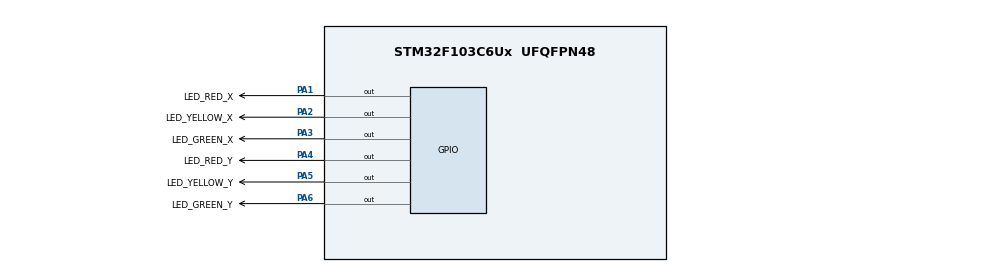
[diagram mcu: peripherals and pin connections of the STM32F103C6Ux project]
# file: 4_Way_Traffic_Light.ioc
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Mcu.Family=STM32F1
Mcu.Name=STM32F103C6Ux
Mcu.Package=UFQFPN48
NVIC.PriorityGroup=NVIC_PRIORITYGROUP_4
PA1.GPIO_Label=LED_RED_X
PA1.Signal=GPIO_Output
PA2.GPIO_Label=LED_YELLOW_X
PA2.Signal=GPIO_Output
PA3.GPIO_Label=LED_GREEN_X
PA3.Signal=GPIO_Output
PA4.GPIO_Label=LED_RED_Y
PA4.Signal=GPIO_Output
PA5.GPIO_Label=LED_YELLOW_Y
PA5.Signal=GPIO_Output
PA6.GPIO_Label=LED_GREEN_Y
PA6.Signal=GPIO_Output
ProjectManager.HeapSize=0x200
ProjectManager.StackSize=0x400
ProjectManager.TargetToolchain=STM32CubeIDE
RCC.APB1Freq_Value=8000000
RCC.APB2Freq_Value=8000000
VP_SYS_VS_ND.Mode=No_Debug
board=custom

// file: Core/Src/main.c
/* USER CODE BEGIN Header */
/**
  ******************************************************************************
  * @file           : main.c
  * @brief          : Main program body
  ******************************************************************************
  * @attention
  *
  * <h2><center>&copy; Copyright (c) 2022 STMicroelectronics.
  * All rights reserved.</center></h2>
  *
  * This software component is licensed by ST under BSD 3-Clause license,
  * the "License"; You may not use this file except in compliance with the
  * License. You may obtain a copy of the License at:
  *                        opensource.org/licenses/BSD-3-Clause
  *
  ******************************************************************************
  */
/* USER CODE END Header */
#include "main.h"

void SystemClock_Config(void);
static void MX_GPIO_Init(void);

int main(void)
{

  /* MCU Configuration--------------------------------------------------------*/

  /* Reset of all peripherals, Initializes the Flash interface and the Systick. */
  HAL_Init();

  /* Configure the system clock */
  SystemClock_Config();

  /* Initialize all configured peripherals */
  MX_GPIO_Init();

  /* Infinite loop */
  /* USER CODE BEGIN WHILE */
  char led_status[2] = {'R', 'R'};
  int green_time[2] = {4, 4};
  int yellow_time[2] = {2, 2};
  while (1)
  {
	  if(led_status[0] != 'Y' && led_status[1] == 'R'){
		  green_time[0]--;
		  if(green_time[0] == 0){
			  green_time[0] = 4;
			  led_status[0] = 'Y';
		  }
		  HAL_GPIO_WritePin(LED_YELLOW_Y_GPIO_Port, LED_YELLOW_Y_Pin, RESET);
		  HAL_GPIO_WritePin(LED_RED_X_GPIO_Port, LED_RED_X_Pin, RESET);
		  HAL_GPIO_WritePin(LED_GREEN_X_GPIO_Port, LED_GREEN_X_Pin, SET);
		  HAL_GPIO_WritePin(LED_RED_Y_GPIO_Port, LED_RED_Y_Pin, SET);
	  }
	  else if(led_status[0] == 'Y' && led_status[1] == 'R'){
		  yellow_time[0]--;
		  if(yellow_time[0] == 0){
			  yellow_time[0] = 2;
			  led_status[0] = 'R';
			  led_status[1] = 'G';
		  }
		  HAL_GPIO_WritePin(LED_GREEN_X_GPIO_Port, LED_GREEN_X_Pin, RESET);
		  HAL_GPIO_WritePin(LED_YELLOW_X_GPIO_Port, LED_YELLOW_X_Pin, SET);
	  }
	  else if(led_status[0] == 'R' && led_status[1] == 'G'){
		  green_time[1]--;
		  if(green_time[1] == 0){
			  green_time[1] = 4;
			  led_status[1] = 'Y';
		  }
		  HAL_GPIO_WritePin(LED_YELLOW_X_GPIO_Port, LED_YELLOW_X_Pin, RESET);
		  HAL_GPIO_WritePin(LED_RED_X_GPIO_Port, LED_RED_X_Pin, SET);
		  HAL_GPIO_WritePin(LED_RED_Y_GPIO_Port, LED_RED_Y_Pin, RESET);
		  HAL_GPIO_WritePin(LED_GREEN_Y_GPIO_Port, LED_GREEN_Y_Pin, SET);
	  }
	  else if(led_status[0] == 'R' && led_status[1] == 'Y'){
		  yellow_time[1]--;
		  if(yellow_time[1] == 0){
			  yellow_time[1] = 2;
			  led_status[1] = 'R';
			  led_status[0] = 'G';
		  }
		  HAL_GPIO_WritePin(LED_GREEN_Y_GPIO_Port, LED_GREEN_Y_Pin, RESET);
		  HAL_GPIO_WritePin(LED_YELLOW_Y_GPIO_Port, LED_YELLOW_Y_Pin, SET);
	  }

HAL_Delay(1000);
    /* USER CODE END WHILE */

  }
}

void SystemClock_Config(void)
{
  RCC_OscInitTypeDef RCC_OscInitStruct = {0};
  RCC_ClkInitTypeDef RCC_ClkInitStruct = {0};

  /** Initializes the RCC Oscillators according to the specified parameters
  * in the RCC_OscInitTypeDef structure.
  */
  RCC_OscInitStruct.OscillatorType = RCC_OSCILLATORTYPE_HSI;
  RCC_OscInitStruct.HSIState = RCC_HSI_ON;
  RCC_OscInitStruct.HSICalibrationValue = RCC_HSICALIBRATION_DEFAULT;
  RCC_OscInitStruct.PLL.PLLState = RCC_PLL_NONE;
  if (HAL_RCC_OscConfig(&RCC_OscInitStruct) != HAL_OK)
  {
    Error_Handler();
  }
  /** Initializes the CPU, AHB and APB buses clocks
  */
  RCC_ClkInitStruct.ClockType = RCC_CLOCKTYPE_HCLK|RCC_CLOCKTYPE_SYSCLK
                              |RCC_CLOCKTYPE_PCLK1|RCC_CLOCKTYPE_PCLK2;
  RCC_ClkInitStruct.SYSCLKSource = RCC_SYSCLKSOURCE_HSI;
  RCC_ClkInitStruct.AHBCLKDivider = RCC_SYSCLK_DIV1;
  RCC_ClkInitStruct.APB1CLKDivider = RCC_HCLK_DIV1;
  RCC_ClkInitStruct.APB2CLKDivider = RCC_HCLK_DIV1;

  if (HAL_RCC_ClockConfig(&RCC_ClkInitStruct, FLASH_LATENCY_0) != HAL_OK)
  {
    Error_Handler();
  }
}

static void MX_GPIO_Init(void)
{
  GPIO_InitTypeDef GPIO_InitStruct = {0};

  /* GPIO Ports Clock Enable */
  __HAL_RCC_GPIOA_CLK_ENABLE();

  /*Configure GPIO pin Output Level */
  HAL_GPIO_WritePin(GPIOA, LED_RED_X_Pin|LED_YELLOW_X_Pin|LED_GREEN_X_Pin|LED_RED_Y_Pin
                          |LED_YELLOW_Y_Pin|LED_GREEN_Y_Pin, GPIO_PIN_RESET);

  /*Configure GPIO pins : LED_RED_X_Pin LED_YELLOW_X_Pin LED_GREEN_X_Pin LED_RED_Y_Pin
                           LED_YELLOW_Y_Pin LED_GREEN_Y_Pin */
  GPIO_InitStruct.Pin = LED_RED_X_Pin|LED_YELLOW_X_Pin|LED_GREEN_X_Pin|LED_RED_Y_Pin
                          |LED_YELLOW_Y_Pin|LED_GREEN_Y_Pin;
  GPIO_InitStruct.Mode = GPIO_MODE_OUTPUT_PP;
  GPIO_InitStruct.Pull = GPIO_NOPULL;
  GPIO_InitStruct.Speed = GPIO_SPEED_FREQ_LOW;
  HAL_GPIO_Init(GPIOA, &GPIO_InitStruct);

}

void Error_Handler(void)
{
  __disable_irq();
  while (1)
  {
  }
}

/************************ (C) COPYRIGHT STMicroelectronics *****END OF FILE****/
